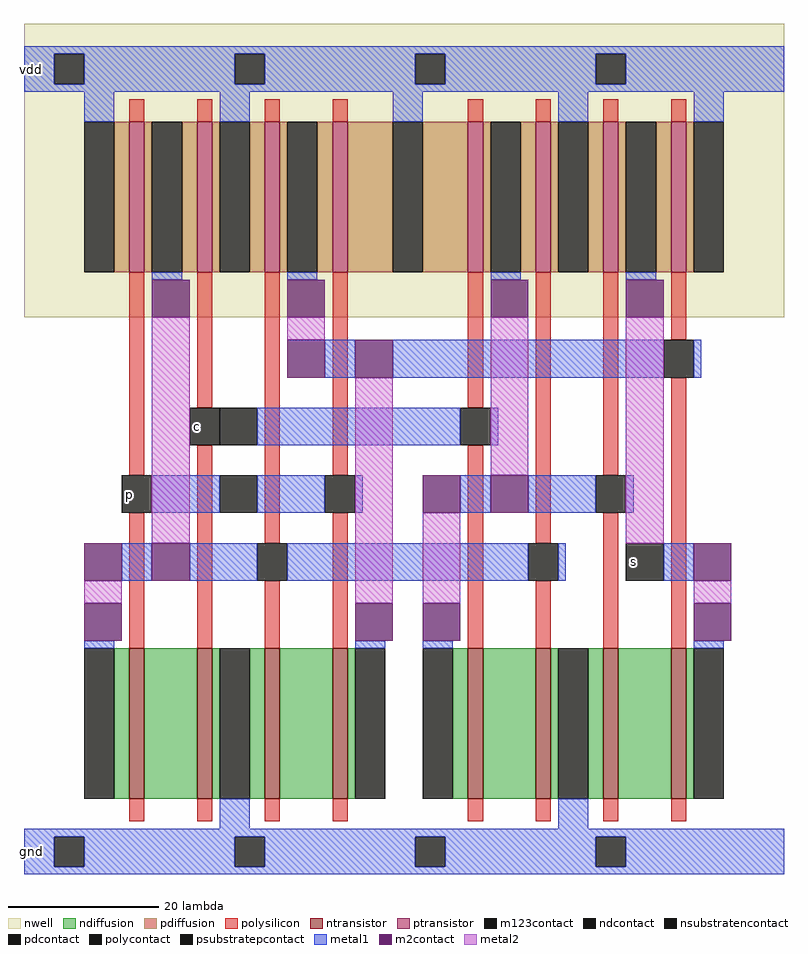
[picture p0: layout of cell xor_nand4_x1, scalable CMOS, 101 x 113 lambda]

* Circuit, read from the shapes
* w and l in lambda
.subckt xor_nand4_x1 c p s vdd gnd
M1 n1 p n2 gnd nfet w=20 l=2
M2 gnd c n1 gnd nfet w=20 l=2
M3 n3 n2 gnd gnd nfet w=20 l=2
M4 n4 p n3 gnd nfet w=20 l=2
M5 n5 c n6 gnd nfet w=20 l=2
M6 gnd n2 n5 gnd nfet w=20 l=2
M7 n7 n6 gnd gnd nfet w=20 l=2
M8 s n4 n7 gnd nfet w=20 l=2
M9 n2 p vdd vdd pfet w=20 l=2
M10 vdd c n2 vdd pfet w=20 l=2
M11 n4 n2 vdd vdd pfet w=20 l=2
M12 vdd p n4 vdd pfet w=20 l=2
M13 n6 c vdd vdd pfet w=20 l=2
M14 vdd n2 n6 vdd pfet w=20 l=2
M15 s n6 vdd vdd pfet w=20 l=2
M16 vdd n4 s vdd pfet w=20 l=2
.ends

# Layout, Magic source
magic
tech scmos
<< nwell >>
rect 0 74 101 113
<< ntransistor >>
rect 14 10 16 30
rect 23 10 25 30
rect 32 10 34 30
rect 41 10 43 30
rect 59 10 61 30
rect 68 10 70 30
rect 77 10 79 30
rect 86 10 88 30
<< ptransistor >>
rect 14 80 16 100
rect 23 80 25 100
rect 32 80 34 100
rect 41 80 43 100
rect 59 80 61 100
rect 68 80 70 100
rect 77 80 79 100
rect 86 80 88 100
<< ndiffusion >>
rect 12 10 14 30
rect 16 10 23 30
rect 25 10 26 30
rect 30 10 32 30
rect 34 10 41 30
rect 43 10 44 30
rect 57 10 59 30
rect 61 10 68 30
rect 70 10 71 30
rect 75 10 77 30
rect 79 10 86 30
rect 88 10 89 30
<< pdiffusion >>
rect 12 80 14 100
rect 16 80 17 100
rect 21 80 23 100
rect 25 80 26 100
rect 30 80 32 100
rect 34 80 35 100
rect 39 80 41 100
rect 43 80 49 100
rect 53 80 59 100
rect 61 80 62 100
rect 66 80 68 100
rect 70 80 71 100
rect 75 80 77 100
rect 79 80 80 100
rect 84 80 86 100
rect 88 80 89 100
<< ndcontact >>
rect 8 10 12 30
rect 26 10 30 30
rect 44 10 48 30
rect 53 10 57 30
rect 71 10 75 30
rect 89 10 93 30
<< pdcontact >>
rect 8 80 12 100
rect 17 80 21 100
rect 26 80 30 100
rect 35 80 39 100
rect 49 80 53 100
rect 62 80 66 100
rect 71 80 75 100
rect 80 80 84 100
rect 89 80 93 100
<< psubstratepcontact >>
rect 4 1 8 5
rect 28 1 32 5
rect 52 1 56 5
rect 76 1 80 5
<< nsubstratencontact >>
rect 4 105 8 109
rect 28 105 32 109
rect 52 105 56 109
rect 76 105 80 109
<< polysilicon >>
rect 14 100 16 103
rect 23 100 25 103
rect 32 100 34 103
rect 41 100 43 103
rect 59 100 61 103
rect 68 100 70 103
rect 77 100 79 103
rect 86 100 88 103
rect 14 53 16 80
rect 23 62 25 80
rect 14 30 16 48
rect 23 30 25 57
rect 32 44 34 80
rect 41 53 43 80
rect 59 62 61 80
rect 32 30 34 39
rect 41 30 43 48
rect 59 30 61 57
rect 68 44 70 80
rect 77 53 79 80
rect 86 71 88 80
rect 68 30 70 39
rect 77 30 79 48
rect 86 30 88 66
rect 14 7 16 10
rect 23 7 25 10
rect 32 7 34 10
rect 41 7 43 10
rect 59 7 61 10
rect 68 7 70 10
rect 77 7 79 10
rect 86 7 88 10
<< polycontact >>
rect 22 57 26 62
rect 13 48 17 53
rect 58 57 62 62
rect 40 48 44 53
rect 31 39 35 44
rect 85 66 89 71
rect 76 48 80 53
rect 67 39 71 44
<< metal1 >>
rect 0 109 101 110
rect 0 105 4 109
rect 8 105 28 109
rect 32 105 52 109
rect 56 105 76 109
rect 80 105 101 109
rect 0 104 101 105
rect 8 100 12 104
rect 26 100 30 104
rect 49 100 53 104
rect 71 100 75 104
rect 89 100 93 104
rect 17 79 21 80
rect 35 79 39 80
rect 62 79 66 80
rect 80 79 84 80
rect 40 66 44 71
rect 49 66 85 71
rect 89 66 90 71
rect 31 57 58 62
rect 62 57 63 62
rect 17 48 26 53
rect 31 48 40 53
rect 44 48 45 53
rect 58 48 62 53
rect 67 48 76 53
rect 80 48 81 53
rect 13 39 17 44
rect 22 39 31 44
rect 35 39 67 44
rect 71 39 72 44
rect 85 39 89 44
rect 8 30 12 31
rect 44 30 48 31
rect 53 30 57 31
rect 89 30 93 31
rect 26 6 30 10
rect 71 6 75 10
rect 0 5 101 6
rect 0 1 4 5
rect 8 1 28 5
rect 32 1 52 5
rect 56 1 76 5
rect 80 1 101 5
rect 0 0 101 1
<< m2contact >>
rect 17 74 22 79
rect 35 74 40 79
rect 62 74 67 79
rect 80 74 85 79
rect 35 66 40 71
rect 44 66 49 71
rect 53 48 58 53
rect 62 48 67 53
rect 8 39 13 44
rect 17 39 22 44
rect 89 39 94 44
rect 8 31 13 36
rect 44 31 49 36
rect 53 31 58 36
rect 89 31 94 36
<< metal2 >>
rect 17 44 22 74
rect 35 71 40 74
rect 8 36 13 39
rect 44 36 49 66
rect 62 53 67 74
rect 53 36 58 48
rect 80 44 85 74
rect 89 36 94 39
<< m123contact >>
rect 26 57 31 62
rect 26 48 31 53
rect 80 39 85 44
<< labels >>
rlabel metal1 22 57 24 62 0 c
port 1 nsew
rlabel metal1 13 48 15 53 0 p
port 2 nsew
rlabel metal1 80 39 82 44 0 s
port 3 nsew
rlabel metal1 0 104 2 110 0 vdd
port 4 nsew
rlabel metal1 0 0 2 6 0 gnd
port 5 nsew
<< end >>
